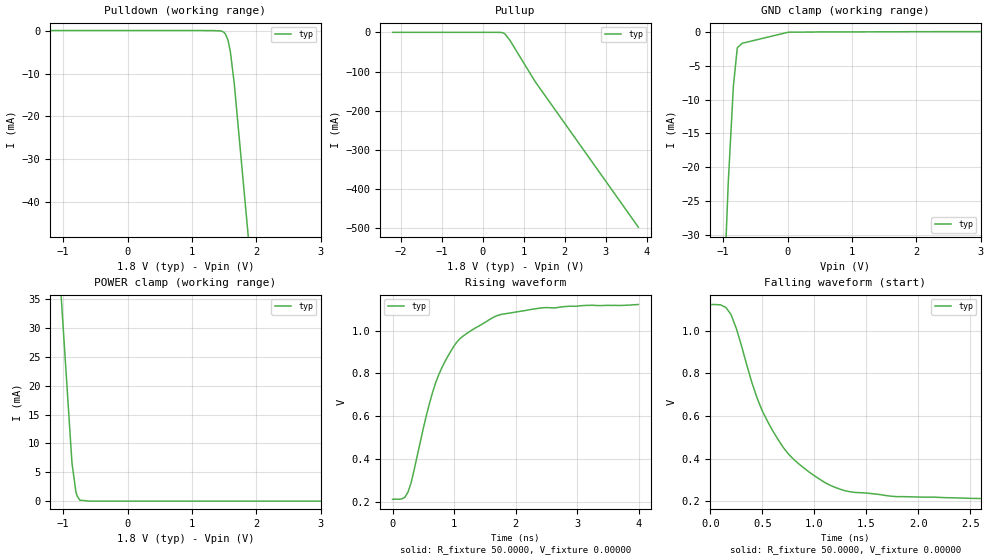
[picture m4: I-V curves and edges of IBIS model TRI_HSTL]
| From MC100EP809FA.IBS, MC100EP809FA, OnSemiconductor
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[Model] TRI_HSTL
Model_type 3-state_ECL
Vref  = 0.0000V
Rref  = 50.0000ohms
Vmeas = 0.9000V
C_comp  2.00000pF  NA  NA
| variable   typ   NA  NA
[Voltage Range]   1.80000V  NA  NA
[POWER Clamp Reference]  1.80000V  NA  NA
[Pullup Reference]   1.80000V  NA  NA
[Pulldown Reference]   1.80000V  NA  NA
[GND Clamp Reference]   0.00000V  NA  NA
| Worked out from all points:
|   POWER clamp passes 1 mA (typ) near -0.78 V on its own axis
|   falling waveform, R_fixture 50.0000, V_fixture 0.00000: 20-80 % time 519ps typ, NA min, NA max; typ from 1.12 V to 0.21 V
|   rising waveform, R_fixture 50.0000, V_fixture 0.00000: 20-80 % time 643ps typ, NA min, NA max; typ from 0.21 V to 1.12 V
[GND Clamp]
-3.3V     -595.9mA   NA         NA
-921.3mV  -22.39mA   NA         NA
-840.9mV  -8.024mA   NA         NA
-780.1mV  -2.358mA   NA         NA
-702.1mV  -1.696mA   NA         NA
21.13mV   -61.74uA   NA         NA
6.6V      188.7uA    NA         NA
[Pulldown]
-2.2V     58.16uA    NA         NA
1.338V    36.48uA    NA         NA
1.46V     -64.08uA   NA         NA
1.5V      -374.7uA   NA         NA
1.521V    -771.5uA   NA         NA
1.561V    -2.205mA   NA         NA
1.597V    -4.811mA   NA         NA
1.657V    -12.23mA   NA         NA
1.8V      -35.66mA   NA         NA
3.4V      -298.7mA   NA         NA
3.8V      -364.5mA   NA         NA
[Pullup]
-2.2V     33.48uA    NA         NA
418.5mV   -87.78uA   NA         NA
539.9mV   -3.678mA   NA         NA
661.2mV   -19.69mA   NA         NA
1.278V    -125.3mA   NA         NA
3.8V      -496.8mA   NA         NA
[POWER Clamp]
-3.3V     425.1mA    NA         NA
-1.039V   36.89mA    NA         NA
-1.019V   33.39mA    NA         NA
-862.4mV  6.536mA    NA         NA
-801.9mV  1.614mA    NA         NA
-781.5mV  878.1uA    NA         NA
-741.2mV  168.7uA    NA         NA
-593mV    0A         NA         NA
6.6V      0A         NA         NA
[Falling Waveform]
R_fixture = 50.0000
V_fixture = 0.00000
0s        1.122V     NA         NA
100ps     1.121V     NA         NA
200ps     1.075V     NA         NA
450ps     684.7mV    NA         NA
550ps     575.9mV    NA         NA
700ps     454.2mV    NA         NA
850ps     376.7mV    NA         NA
1.15ns    276.4mV    NA         NA
1.8ns     222.5mV    NA         NA
3.99ns    210.2mV    NA         NA
[Rising Waveform]
R_fixture = 50.0000
V_fixture = 0.00000
0s        210.2mV    NA         NA
150ps     212.4mV    NA         NA
250ps     243.8mV    NA         NA
300ps     286.7mV    NA         NA
550ps     604.8mV    NA         NA
700ps     756.4mV    NA         NA
900ps     881.3mV    NA         NA
1.1ns     964.1mV    NA         NA
1.8ns     1.078V     NA         NA
3.99ns    1.122V     NA         NA
[Ramp]
| variable typ min max
dV/dt_r 546.923m/631.447p  NA  NA
dV/dt_f 546.923m/518.437p  NA  NA
R_load = 50.0000Ohms
